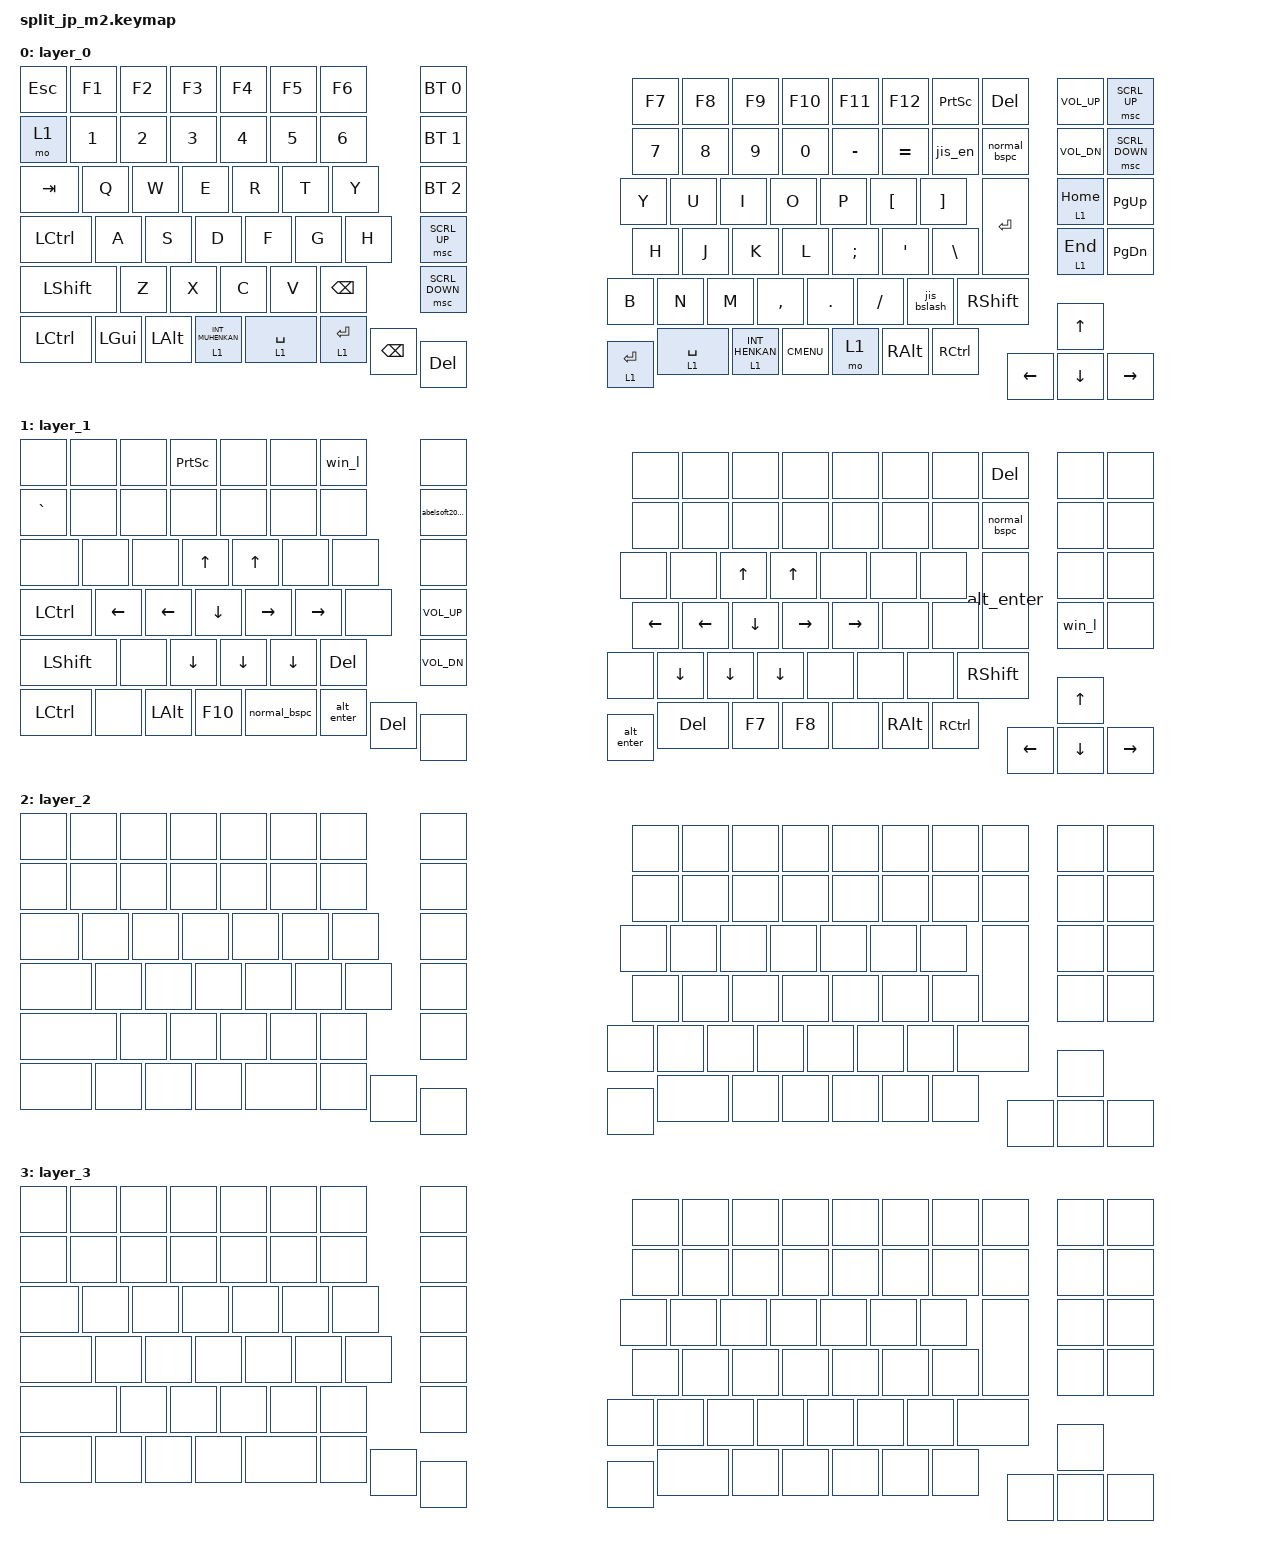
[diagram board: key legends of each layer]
#include <behaviors.dtsi>
#include <dt-bindings/zmk/keys.h>      // キーボード用コード
#include <dt-bindings/zmk/bt.h>         // Bluetooth 用コード
#include <dt-bindings/zmk/pointing.h>   // マウス/スクロール用コード

/ {
    behaviors {
        win_l: win_l {
            compatible = "zmk,behavior-macro";
            #binding-cells = <0>;
            label = "WIN+L";
            bindings = <&kp LG(L)>;
        };
		alt_enter: alt_enter {
		    compatible = "zmk,behavior-macro";
		    #binding-cells = <0>;
		    label = "ALT+ENTER";
		    bindings = <&kp LA(ENTER)>;
		};
        abelsoft2003: abelsoft2003 {
            compatible = "zmk,behavior-macro";
            #binding-cells = <0>;
            wait-ms = <10>; 
            tap-ms  = <10>;
            bindings = <
                &kp LS(A) &kp B &kp E &kp L &kp S &kp O &kp F &kp T 
                &kp N2 &kp N0 &kp N0 &kp N3
                &kp EXCLAMATION
            >;
        };
        jis_en: jis_en {
		    compatible = "zmk,behavior-mod-morph";
		    label = "jis_en";/*円マークとパイプ*/
		    #binding-cells = <0>;
		    bindings = <&kp 0x87>, <&kp LS(0x89)>;
		    mods      = <(MOD_LSFT | MOD_RSFT)>;
		    keep-mods = <(MOD_LSFT | MOD_RSFT)>;
		};
        jis_bslash: jis_bslash {
		    compatible = "zmk,behavior-mod-morph";
		    label = "jis_bslash";/*バックスラッシュとアンダースコア*/
		    #binding-cells = <0>;
		    bindings = <&kp 0x87>, <&kp LS(0x87)>;
		    mods      = <(MOD_LSFT | MOD_RSFT)>;
		    keep-mods = <(MOD_LSFT | MOD_RSFT)>;
		};
		// 「通常のバックスペース」用のマクロ、本来のバックスペースはバックスペースorデリート化
        normal_bspc: normal_bspc {
            compatible = "zmk,behavior-macro";
            label = "NORMAL_BSPC";
            #binding-cells = <0>;
            bindings = <&kp BSPC>;
        };
        // ModクリアしてDELを送信するマクロ
        del_without_mods: del_without_mods {
            compatible = "zmk,behavior-macro";
            label = "DEL_WITHOUT_MODS";
            #binding-cells = <0>;
            bindings = <
                &m_save_mods
                &m_cl_mods
                &kp DEL
                &m_restore_mods
            >;
        };
    };
    keymap {
        compatible = "zmk,keymap";
        layer_0 {
            bindings = <
                &kp ESC			&kp F1		&kp F2		&kp F3				&kp F4			&kp F5			&kp F6			&bt BT_SEL 0				&kp F7			&kp F8			&kp F9				&kp F10			&kp F11			&kp F12			&kp PSCRN				&kp DEL			&kp C_VOL_UP	&msc SCRL_UP
                &mo 1			&kp N1		&kp N2		&kp N3				&kp N4			&kp N5			&kp N6			&bt BT_SEL 1				&kp N7			&kp N8			&kp N9				&kp N0			&kp MINUS/*-*/	&kp EQUAL/*^*/	&jis_en					&normal_bspc	&kp C_VOL_DN	&msc SCRL_DOWN
                &kp TAB			&kp Q		&kp W		&kp E				&kp R			&kp T			&kp Y			&bt BT_SEL 2				&kp Y			&kp U			&kp I				&kp O			&kp P			&kp LBKT/*@*/	&kp RBKT/*[*/			&kp ENTER		&lt 1 HOME		&kp PG_UP
                &kp LCTRL		&kp A		&kp S		&kp D				&kp F			&kp G			&kp H			&msc SCRL_UP				&kp H			&kp J			&kp K				&kp L			&kp SEMI/*;*/	&kp SQT/*:*/	&kp BACKSLASH/*]*/						&lt 1 END		&kp PG_DN
                &kp LSHIFT		&kp Z		&kp X		&kp C				&kp V			&kp BSPC					&msc SCRL_DOWN				&kp B			&kp N			&kp M				&kp COMMA/*,*/	&kp DOT	/*.*/	&kp SLASH/* */	&jis_bslash				&kp RSHIFT		&kp UP
                &kp LCTRL		&kp LGUI	&kp LALT	&lt 1 INT_MUHENKAN	&lt 1 SPACE		&lt 1 ENTER		&kp BSPC	&kp DEL						&lt 1 ENTER		&lt 1 SPACE		&lt 1 INT_HENKAN	&kp K_CMENU		&mo 1			&kp RALT		&kp RCTRL				&kp LEFT		&kp DOWN		&kp RIGHT
            >;
        };

        layer_1 {
            bindings =<
                &none 			&none 		&none		&kp PSCRN 			&none 			&none 			&win_l 			&none		 				&none 			&none 			&none 				&none			&none			&none			&none					&kp DEL			&none			&none
				&kp GRAVE		&none		&none		&none				&none			&none			&none			&abelsoft2003				&none			&none			&none				&none			&none			&none			&none					&normal_bspc	&none			&none
				&none			&none		&none		&kp UP				&kp UP			&none			&none			&none						&none			&none			&kp UP				&kp UP			&none			&none			&none					&alt_enter		&none			&none
				&kp LCTRL		&kp LEFT	&kp LEFT	&kp DOWN			&kp RIGHT		&kp RIGHT		&none			&kp C_VOL_UP				&kp LEFT		&kp LEFT		&kp DOWN			&kp RIGHT		&kp RIGHT		&none			&none									&win_l			&none
				&kp LSHIFT		&none		&kp DOWN	&kp DOWN			&kp DOWN		&kp DEL							&kp C_VOL_DN				&none			&kp DOWN		&kp DOWN			&kp DOWN		&none			&none			&none					&kp RSHIFT		&kp UP
				&kp LCTRL		&none		&kp LALT	&kp F10				&normal_bspc	&alt_enter		&kp DEL			&none						&alt_enter		&kp DEL			&kp F7				&kp F8			&none			&kp RALT		&kp RCTRL				&kp LEFT		&kp DOWN		&kp RIGHT
            >;
        };

        layer_2 {
            bindings =<
                &none &none &none &none &none &none &none &none &none &none &none &none &none &none &none &none &none &none
				&none &none &none &none &none &none &none &none &none &none &none &none &none &none &none &none &none &none
				&none &none &none &none &none &none &none &none &none &none &none &none &none &none &none &none &none &none
				&none &none &none &none &none &none &none &none &none &none &none &none &none &none &none &none &none
				&none &none &none &none &none &none &none &none &none &none &none &none &none &none &none &none
				&none &none &none &none &none &none &none &none &none &none &none &none &none &none &none &none &none &none
            >;
        };

        layer_3 {
            bindings =<
                &none &none &none &none &none &none &none &none &none &none &none &none &none &none &none &none &none &none
				&none &none &none &none &none &none &none &none &none &none &none &none &none &none &none &none &none &none
				&none &none &none &none &none &none &none &none &none &none &none &none &none &none &none &none &none &none
				&none &none &none &none &none &none &none &none &none &none &none &none &none &none &none &none &none
				&none &none &none &none &none &none &none &none &none &none &none &none &none &none &none &none
				&none &none &none &none &none &none &none &none &none &none &none &none &none &none &none &none &none &none
            >;
        };
    };

    key_overrides {
        compatible = "zmk,key-overrides";

        bspc_del_override: bspc_del_override {
            if-binding = <&kp BSPC>;
            
            // トリガーとなるモディファイア
            mods = <(MOD_LSFT | MOD_RSFT | MOD_LCTL | MOD_RCTL)>;
            
            // 上書き後の動作（マクロ）
            bindings = <&del_without_mods>;
        };
    };
};
